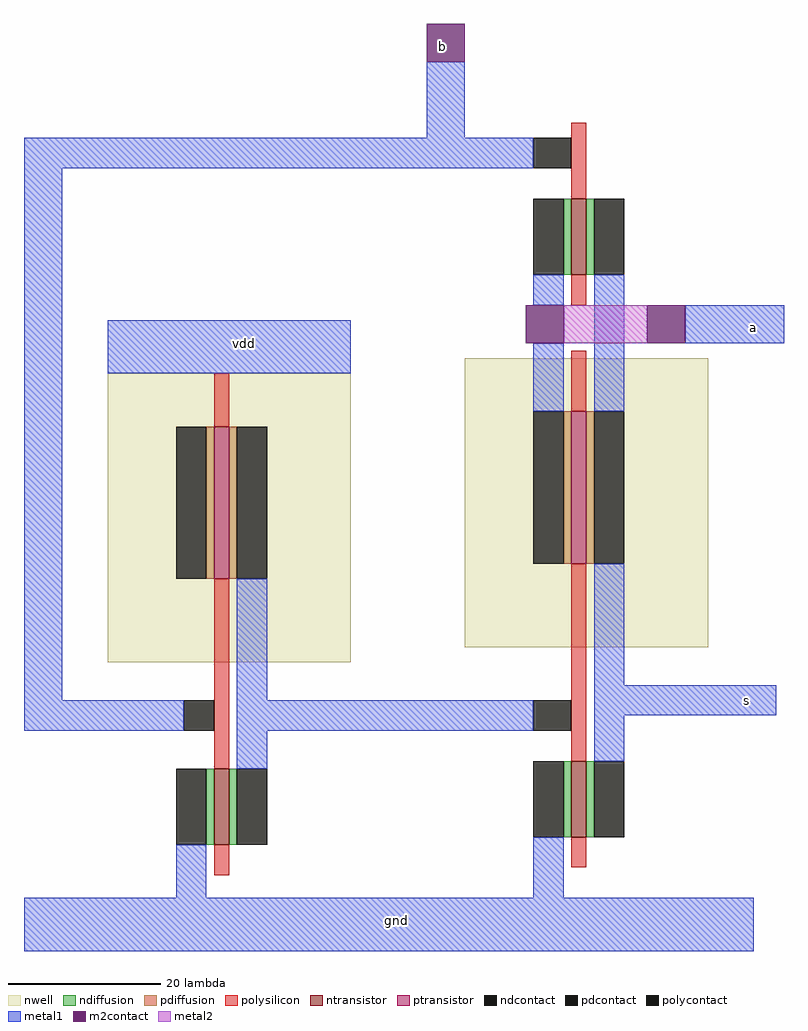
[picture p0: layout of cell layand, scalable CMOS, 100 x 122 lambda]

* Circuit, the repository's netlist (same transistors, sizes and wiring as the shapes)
* SPICE3 file created from layand.ext - technology: scmos

.option scale=0.09u

M1000 s b a Gnd nfet w=10 l=2
+  ad=100 pd=60 as=50 ps=30
M1001 s a_252_18# a w_283_44# pfet w=20 l=2
+  ad=100 pd=50 as=100 ps=50
M1002 s a_252_18# gnd Gnd nfet w=10 l=2
+  ad=0 pd=0 as=100 ps=60
M1003 a_252_18# b a_245_53# w_236_42# pfet w=20 l=2
+  ad=100 pd=50 as=100 ps=50
M1004 a_252_18# b gnd Gnd nfet w=10 l=2
+  ad=50 pd=30 as=0 ps=0

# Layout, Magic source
magic
tech scmos
<< nwell >>
rect 236 42 268 80
rect 283 44 315 82
<< ntransistor >>
rect 297 93 299 103
rect 250 18 252 28
rect 297 19 299 29
<< ptransistor >>
rect 250 53 252 73
rect 297 55 299 75
<< ndiffusion >>
rect 296 93 297 103
rect 299 93 300 103
rect 249 18 250 28
rect 252 18 253 28
rect 296 19 297 29
rect 299 19 300 29
<< pdiffusion >>
rect 249 53 250 73
rect 252 53 253 73
rect 296 55 297 75
rect 299 55 300 75
<< ndcontact >>
rect 292 93 296 103
rect 300 93 304 103
rect 245 18 249 28
rect 253 18 257 28
rect 292 19 296 29
rect 300 19 304 29
<< pdcontact >>
rect 245 53 249 73
rect 253 53 257 73
rect 292 55 296 75
rect 300 55 304 75
<< polysilicon >>
rect 297 103 299 113
rect 297 89 299 93
rect 250 73 252 80
rect 297 75 299 83
rect 250 28 252 53
rect 297 29 299 55
rect 250 14 252 18
rect 297 15 299 19
<< polycontact >>
rect 292 107 297 111
rect 246 33 250 37
rect 292 33 297 37
<< metal1 >>
rect 278 111 283 121
rect 225 107 292 111
rect 225 37 230 107
rect 292 89 296 93
rect 236 80 268 87
rect 292 75 296 84
rect 300 75 304 93
rect 312 84 325 89
rect 253 37 257 53
rect 300 39 304 55
rect 225 33 246 37
rect 253 33 292 37
rect 300 35 324 39
rect 253 28 257 33
rect 300 29 304 35
rect 245 11 249 18
rect 292 11 296 19
rect 225 4 321 11
<< m2contact >>
rect 278 121 283 126
rect 291 84 296 89
rect 307 84 312 89
<< metal2 >>
rect 296 84 307 89
<< labels >>
rlabel metal1 254 84 254 84 1 vdd
rlabel metal1 274 8 274 8 1 gnd
rlabel metal1 320 37 320 37 1 s
rlabel metal1 321 86 321 86 1 a
rlabel m2contact 280 123 280 123 1 b
<< end >>
